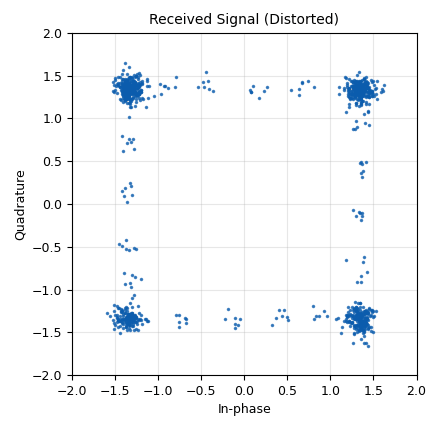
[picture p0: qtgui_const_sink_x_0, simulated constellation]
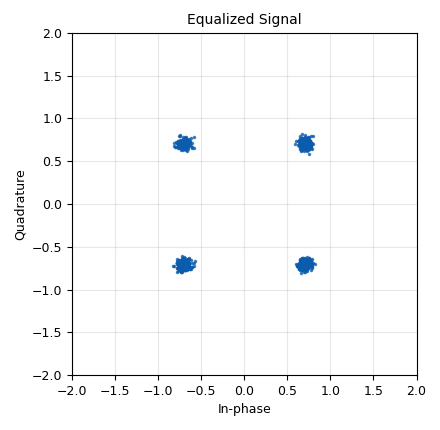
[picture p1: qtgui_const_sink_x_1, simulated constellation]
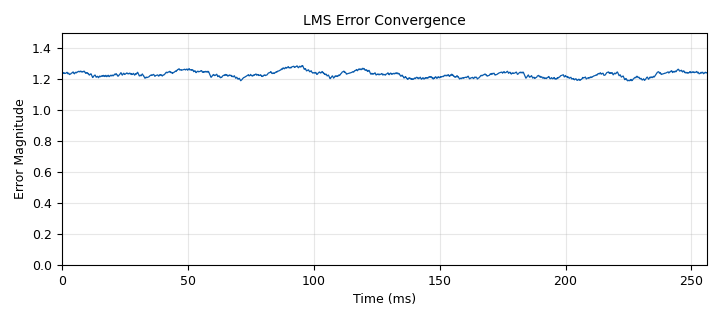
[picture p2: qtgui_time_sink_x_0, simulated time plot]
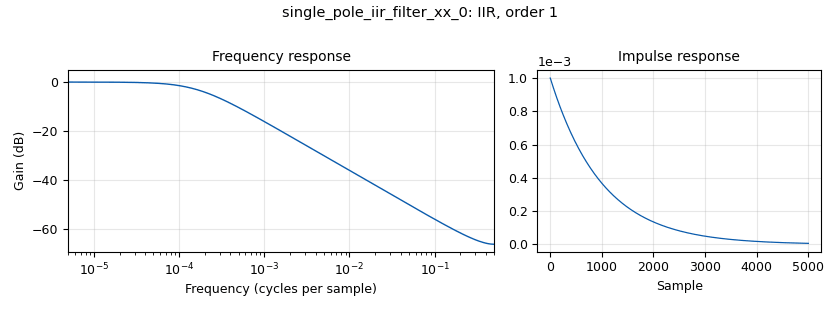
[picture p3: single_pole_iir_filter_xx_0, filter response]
options:
  parameters:
    generate_options: qt_gui
    id: project2
    output_language: python
    title: Not titled yet
  states: {}

blocks:
- name: lms_algo
  id: variable_adaptive_algorithm
  parameters:
    cons: qpsk_obj
    step_size: mu
    type: lms
  states: {}
- name: mu
  id: variable_qtgui_range
  parameters:
    label: LMS step size
    start: '0.0001'
    step: '0.0005'
    stop: '0.1'
    value: '0.01'
  states: {}
- name: qpsk_obj
  id: variable_constellation
  parameters:
    const_points: '[1+1j, -1+1j, -1-1j, 1-1j]'
    dims: '1'
    normalization: digital.constellation.AMPLITUDE_NORMALIZATION
    precision: '8'
    rot_sym: '4'
    sym_map: '[0, 1, 3, 2]'
    type: calcdist
  states: {}
- name: samp_rate
  id: variable
  parameters:
    value: '32000'
  states: {}
- name: sps
  id: variable
  parameters:
    value: '4'
  states: {}
- name: analog_noise_source_x_0
  id: analog_noise_source_x
  parameters:
    amp: '0.05'
    noise_type: analog.GR_GAUSSIAN
    seed: '1'
    type: complex
  states: {}
- name: analog_noise_source_x_1
  id: analog_noise_source_x
  parameters:
    amp: '0.05'
    noise_type: analog.GR_GAUSSIAN
    seed: '2'
    type: complex
  states: {}
- name: analog_noise_source_x_2
  id: analog_noise_source_x
  parameters:
    amp: '0.05'
    noise_type: analog.GR_GAUSSIAN
    seed: '3'
    type: complex
  states: {}
- name: analog_noise_source_x_3
  id: analog_noise_source_x
  parameters:
    amp: '0.05'
    noise_type: analog.GR_GAUSSIAN
    seed: '4'
    type: complex
  states: {}
- name: analog_random_source_x_0
  id: analog_random_source_x
  parameters:
    max: '2'
    min: '0'
    num_samps: '1000'
    repeat: 'True'
    type: byte
  states: {}
- name: blocks_add_xx_0
  id: blocks_add_xx
  parameters:
    type: complex
  states: {}
- name: blocks_add_xx_1
  id: blocks_add_xx
  parameters:
    type: complex
  states: {}
- name: blocks_add_xx_2
  id: blocks_add_xx
  parameters:
    type: complex
  states: {}
- name: blocks_add_xx_3
  id: blocks_add_xx
  parameters:
    type: complex
  states: {}
- name: blocks_add_xx_4
  id: blocks_add_xx
  parameters:
    num_inputs: '4'
    type: complex
  states: {}
- name: blocks_complex_to_mag_0
  id: blocks_complex_to_mag
  parameters: {}
  states: {}
- name: blocks_delay_0
  id: blocks_delay
  parameters:
    delay: '2'
    type: complex
  states: {}
- name: blocks_delay_1
  id: blocks_delay
  parameters:
    delay: '4'
    type: complex
  states: {}
- name: blocks_delay_2
  id: blocks_delay
  parameters:
    delay: '6'
    type: complex
  states: {}
- name: blocks_multiply_const_vxx_0
  id: blocks_multiply_const_vxx
  parameters:
    const: '0.5'
    type: complex
  states: {}
- name: blocks_multiply_const_vxx_1
  id: blocks_multiply_const_vxx
  parameters:
    const: '1.0'
    type: complex
  states: {}
- name: blocks_multiply_const_vxx_2
  id: blocks_multiply_const_vxx
  parameters:
    const: '0.3'
    type: complex
  states: {}
- name: blocks_multiply_const_vxx_3
  id: blocks_multiply_const_vxx
  parameters:
    const: '0.1'
    type: complex
  states: {}
- name: blocks_sub_xx_0
  id: blocks_sub_xx
  parameters:
    type: complex
  states: {}
- name: blocks_throttle2_0
  id: blocks_throttle2
  parameters:
    samples_per_second: samp_rate
    type: complex
  states: {}
- name: digital_constellation_decoder_cb_1
  id: digital_constellation_decoder_cb
  parameters:
    constellation: qpsk_obj
  states: {}
- name: digital_constellation_modulator_0
  id: digital_constellation_modulator
  parameters:
    constellation: qpsk_obj
    differential: 'True'
    excess_bw: '0.35'
    samples_per_symbol: sps
  states: {}
- name: digital_constellation_modulator_1
  id: digital_constellation_modulator
  parameters:
    constellation: qpsk_obj
    differential: 'False'
    excess_bw: '0.35'
    samples_per_symbol: '4'
  states: {}
- name: digital_linear_equalizer_0
  id: digital_linear_equalizer
  parameters:
    alg: lms_algo
    num_taps: '15'
    sps: '4'
  states: {}
- name: qtgui_const_sink_x_0
  id: qtgui_const_sink_x
  parameters:
    name: Received Signal (Distorted)
    size: '1024'
    type: complex
  states: {}
- name: qtgui_const_sink_x_1
  id: qtgui_const_sink_x
  parameters:
    name: Equalized Signal
    size: '1024'
    type: complex
  states: {}
- name: qtgui_time_sink_x_0
  id: qtgui_time_sink_x
  parameters:
    name: LMS Error Convergence
    size: '8192'
    srate: samp_rate
    type: float
    ylabel: Error Magnitude
    ymax: '1.5'
    ymin: '0'
  states: {}
- name: single_pole_iir_filter_xx_0
  id: single_pole_iir_filter_xx
  parameters:
    alpha: '0.001'
    type: float
  states: {}

connections:
- [analog_noise_source_x_0, '0', blocks_add_xx_3, '1']
- [analog_noise_source_x_1, '0', blocks_add_xx_0, '1']
- [analog_noise_source_x_2, '0', blocks_add_xx_2, '1']
- [analog_noise_source_x_3, '0', blocks_add_xx_1, '1']
- [analog_random_source_x_0, '0', digital_constellation_modulator_0, '0']
- [blocks_add_xx_0, '0', blocks_add_xx_4, '1']
- [blocks_add_xx_1, '0', blocks_add_xx_4, '3']
- [blocks_add_xx_2, '0', blocks_add_xx_4, '2']
- [blocks_add_xx_3, '0', blocks_add_xx_4, '0']
- [blocks_add_xx_4, '0', digital_linear_equalizer_0, '0']
- [blocks_add_xx_4, '0', qtgui_const_sink_x_0, '0']
- [blocks_complex_to_mag_0, '0', single_pole_iir_filter_xx_0, '0']
- [blocks_delay_0, '0', blocks_multiply_const_vxx_0, '0']
- [blocks_delay_1, '0', blocks_multiply_const_vxx_2, '0']
- [blocks_delay_2, '0', blocks_multiply_const_vxx_3, '0']
- [blocks_multiply_const_vxx_0, '0', blocks_add_xx_0, '0']
- [blocks_multiply_const_vxx_1, '0', blocks_add_xx_3, '0']
- [blocks_multiply_const_vxx_2, '0', blocks_add_xx_2, '0']
- [blocks_multiply_const_vxx_3, '0', blocks_add_xx_1, '0']
- [blocks_sub_xx_0, '0', blocks_complex_to_mag_0, '0']
- [blocks_throttle2_0, '0', blocks_delay_0, '0']
- [blocks_throttle2_0, '0', blocks_delay_1, '0']
- [blocks_throttle2_0, '0', blocks_delay_2, '0']
- [blocks_throttle2_0, '0', blocks_multiply_const_vxx_1, '0']
- [digital_constellation_decoder_cb_1, '0', digital_constellation_modulator_1, '0']
- [digital_constellation_modulator_0, '0', blocks_throttle2_0, '0']
- [digital_constellation_modulator_1, '0', blocks_sub_xx_0, '0']
- [digital_linear_equalizer_0, '0', blocks_sub_xx_0, '1']
- [digital_linear_equalizer_0, '0', digital_constellation_decoder_cb_1, '0']
- [digital_linear_equalizer_0, '0', qtgui_const_sink_x_1, '0']
- [single_pole_iir_filter_xx_0, '0', qtgui_time_sink_x_0, '0']

metadata:
  file_format: 1
  grc_version: 3.10.12.0
